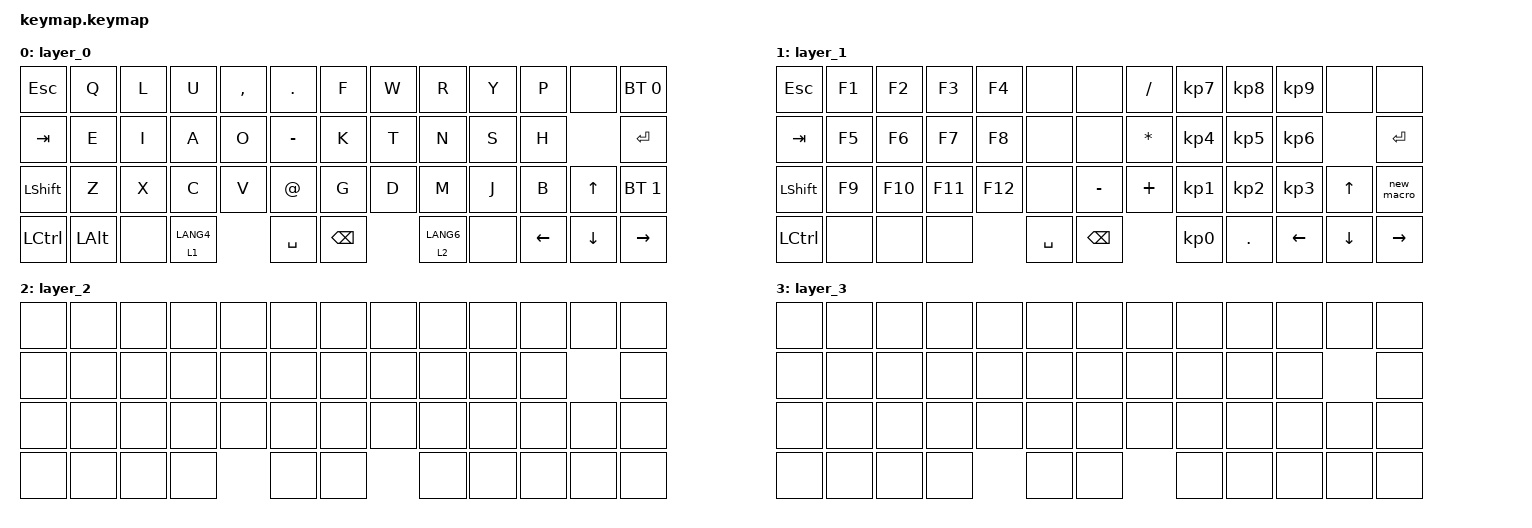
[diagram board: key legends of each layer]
#include <behaviors.dtsi>
#include <dt-bindings/zmk/bt.h>
#include <dt-bindings/zmk/keys.h>

/ {
    macros {
        new_macro: new_macro {
            compatible = "zmk,behavior-macro";
            #binding-cells = <0>;
            bindings = <&kp LS(O) &kp H &kp I &kp Z &kp U &kp M &kp I &kp NUMBER_5 &kp NUMBER_1 &kp NUMBER_5 &kp NUMBER_5>;
            label = "NEW_MACRO";
        };
    };

    keymap {
        compatible = "zmk,keymap";

        layer_0 {
            bindings = <
&kp ESC           &kp Q         &kp L  &kp U        &kp COMMA  &kp PERIOD   &kp F          &kp W  &kp R        &kp Y  &kp P           &none           &bt BT_SEL 0
&kp TAB           &kp E         &kp I  &kp A        &kp O      &kp MINUS    &kp K          &kp T  &kp N        &kp S  &kp H                           &kp ENTER
&kp LEFT_SHIFT    &kp Z         &kp X  &kp C        &kp V      &kp AT_SIGN  &kp G          &kp D  &kp M        &kp J  &kp B           &kp UP_ARROW    &bt BT_SEL 1
&kp LEFT_CONTROL  &kp LEFT_ALT  &none  &lt 1 LANG4             &kp SPACE    &kp BACKSPACE         &lt 2 LANG6  &none  &kp LEFT_ARROW  &kp DOWN_ARROW  &kp RIGHT_ARROW
            >;
        };

        layer_1 {
            bindings = <
&kp ESC           &kp F1  &kp F2   &kp F3   &kp F4   &none      &none          &kp SLASH  &kp KP_NUMBER_7  &kp KP_NUMBER_8  &kp KP_NUMBER_9  &none           &none
&kp TAB           &kp F5  &kp F6   &kp F7   &kp F8   &none      &none          &kp ASTRK  &kp KP_NUMBER_4  &kp KP_NUMBER_5  &kp KP_NUMBER_6                  &kp ENTER
&kp LSHFT         &kp F9  &kp F10  &kp F11  &kp F12  &none      &kp MINUS      &kp PLUS   &kp KP_NUMBER_1  &kp KP_NUMBER_2  &kp KP_NUMBER_3  &kp UP_ARROW    &new_macro
&kp LEFT_CONTROL  &none   &none    &none             &kp SPACE  &kp BACKSPACE             &kp KP_NUMBER_0  &kp DOT          &kp LEFT_ARROW   &kp DOWN_ARROW  &kp RIGHT_ARROW
            >;
        };

        layer_2 {
            bindings = <
&none  &none  &none  &none  &none  &none  &none  &none  &none  &none  &none  &none  &none
&none  &none  &none  &none  &none  &none  &none  &none  &none  &none  &none         &none
&none  &none  &none  &none  &none  &none  &none  &none  &none  &none  &none  &none  &none
&none  &none  &none  &none         &none  &none         &none  &none  &none  &none  &none
            >;
        };

        layer_3 {
            bindings = <
&none  &none  &none  &none  &none  &none  &none  &none  &none  &none  &none  &none  &none
&none  &none  &none  &none  &none  &none  &none  &none  &none  &none  &none         &none
&none  &none  &none  &none  &none  &none  &none  &none  &none  &none  &none  &none  &none
&none  &none  &none  &none         &none  &none         &none  &none  &none  &none  &none
            >;
        };
    };
};
